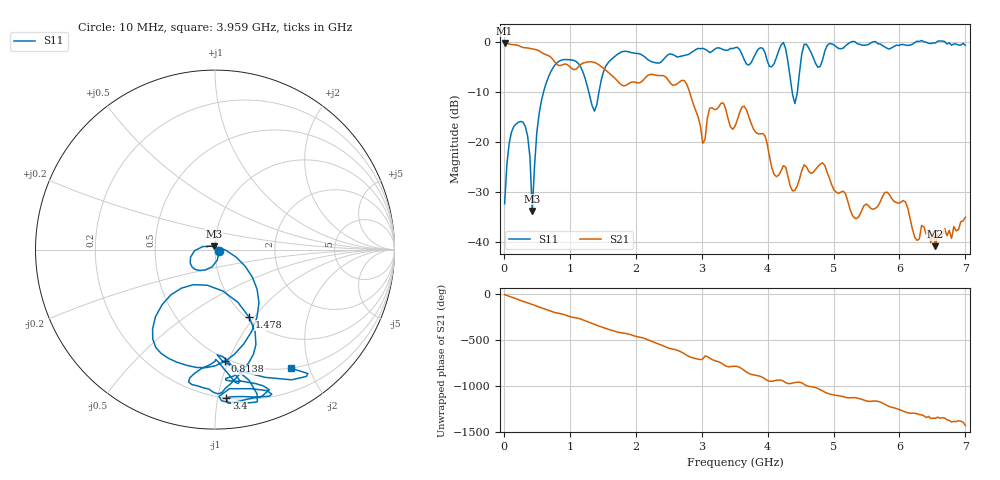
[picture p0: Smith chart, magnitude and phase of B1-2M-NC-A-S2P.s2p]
!File created by NanoVNA
# Hz S RI R 50
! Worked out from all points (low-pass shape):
!   201 points, 10 MHz to 7 GHz, reference 50 ohm
!   highest |S21| = -0.22 dB at 10 MHz (marker M1); lowest = -40.8 dB at 6.546 GHz (marker M2)
!   |S21| within 3 dB of the highest: start of sweep to 721.2 MHz
!   lowest |S11| = -33.8 dB at 429.4 MHz (marker M3), VSWR 1.04, Z = 49.2 + j1.88 ohm
!   |S11| at or under -10 dB: start of sweep to 601 MHz; 1.286 GHz to 1.441 GHz (155.3 MHz wide, 11.4 % of centre); 4.373 GHz to 4.451 GHz (78.62 MHz wide, 1.78 % of centre)
!   S12 and S22 are empty: the file has one direction only
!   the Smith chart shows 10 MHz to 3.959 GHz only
!   S11 on the Smith chart (normalised r, x): 10 MHz: 1.04, -0.02; 813.9 MHz: 0.48, -0.97; 1.478 GHz: 1.03, -0.94; 3.4 GHz: 0.20, -1.06; 3.959 GHz: 0.50, -1.71
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1e7  0.022 -0.0101  0.9735 -0.05  0 0  0 0
2.5465e8  -0.1274 -0.0973  0.3329 -0.8314  0 0  0 0
4.294e8  -0.00734 0.0191  -0.3094 -0.7909  0 0  0 0
5.3425e8  0.1691 -0.0939  -0.6144 -0.5285  0 0  0 0
8.1385e8  0.0559 -0.6225  -0.5325 0.2482  0 0  0 0
1.1983e9  -0.3316 -0.374  0.098 0.6039  0 0  0 0
1.4779e9  0.1894 -0.3755  0.5637 0.0363  0 0  0 0
1.9672e9  -0.0678 -0.7693  -0.00893 -0.3978  0 0  0 0
2.35165e9  0.00407 -0.612  -0.4587 0.0197  0 0  0 0
2.806e9  0.1522 -0.7337  0.2432 0.2237  0 0  0 0
3.0157e9  0.0923 -0.855  0.0939 0.0238  0 0  0 0
3.40015e9  0.0633 -0.8245  0.0563 -0.1608  0 0  0 0
3.505e9  0.1738 -0.8552  0.0625 -0.1289  0 0  0 0
3.95935e9  0.4208 -0.6596  -0.1065 0.0455  0 0  0 0
4.09915e9  0.0241 -0.6044  -0.0345 0.0324  0 0  0 0
4.23895e9  0.5743 -0.7992  -0.0401 0.0418  0 0  0 0
4.4137e9  0.1992 -0.137  -0.0154 0.0291  0 0  0 0
4.5535e9  0.5266 -0.7797  -0.00949 0.0583  0 0  0 0
4.6933e9  0.6571 -0.2199  0.0178 0.0467  0 0  0 0
5.84665e9  0.7722 -0.3433  -0.0242 -0.0174  0 0  0 0
6.54565e9  0.9353 -0.2654  0.000365 0.00911  0 0  0 0
7e9  0.9192 -0.086  0.0175 0.0031  0 0  0 0
